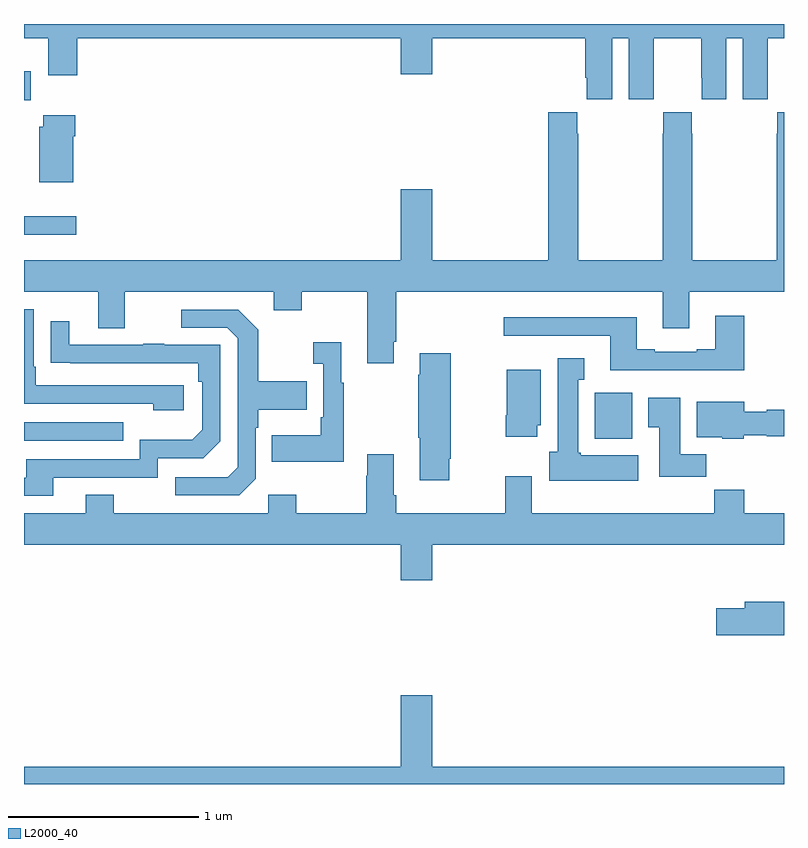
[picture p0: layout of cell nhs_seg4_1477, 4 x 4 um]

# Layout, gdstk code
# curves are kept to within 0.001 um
import gdstk
lib = gdstk.Library(unit=1e-6, precision=1e-09)
def R(c, l, rs):  # rectangles x0, y0, x1, y1
    for r in rs: c.add(gdstk.rectangle(r[:2], r[2:], *l))
def P(c, l, *ps):  # polygons
    for p in ps: c.add(gdstk.Polygon(p, *l))
L2000_40 = (2000, 40)

nhs_seg4_1477 = lib.new_cell('nhs_seg4_1477')
R(nhs_seg4_1477, L2000_40, [(187,790.707,187.523,790.803), (190.004,790.718,190.201,790.96), (187,791.792,187.276,791.889), (187,792.498,187.036,792.652)])
P(nhs_seg4_1477, L2000_40, [(190.096,792.824),(190.184,792.824),(190.184,792.504),(190.314,792.504),(190.314,792.616),(190.315,792.616),(190.315,792.824),(190.565,792.824),(190.565,792.616),(190.566,792.616),(190.566,792.504),(190.696,792.504),(190.696,792.824),(190.784,792.824),(190.784,792.504),(190.914,792.504),(190.914,792.616),(190.915,792.616),(190.915,792.824),(191,792.824),(191,792.9),(187,792.9),(187,792.824),(187.127,792.824),(187.127,792.63),(187.28,792.63),(187.28,792.824),(188.984,792.824),(188.984,792.636),(189.148,792.636),(189.148,792.824),(189.953,792.824),(189.953,792.616),(189.962,792.616),(189.962,792.504),(190.096,792.504)],
  [(188.947,791.227),(188.96,791.227),(188.96,791.492),(190.361,791.492),(190.361,791.298),(190.501,791.298),(190.501,791.492),(191,791.492),(191,792.436),(190.965,792.436),(190.965,792.323),(190.963,792.323),(190.963,791.656),(190.518,791.656),(190.518,792.323),(190.515,792.323),(190.515,792.436),(190.365,792.436),(190.365,792.323),(190.363,792.323),(190.363,791.656),(189.918,791.656),(189.918,792.323),(189.911,792.323),(189.911,792.436),(189.758,792.436),(189.758,791.656),(189.148,791.656),(189.148,792.031),(188.984,792.031),(188.984,791.656),(187,791.656),(187,791.492),(187.391,791.492),(187.391,791.298),(187.531,791.298),(187.531,791.492),(188.315,791.492),(188.315,791.393),(188.463,791.393),(188.463,791.492),(188.807,791.492),(188.807,791.115),(188.947,791.115)],
  [(187.258,792.308),(187.271,792.308),(187.271,792.421),(187.1,792.421),(187.1,792.36),(187.079,792.36),(187.079,792.068),(187.258,792.068)],
  [(187.84,790.998),(187.063,790.998),(187.063,791.095),(187.05,791.095),(187.05,791.4),(187,791.4),(187,790.902),(187.679,790.902),(187.679,790.868),(187.84,790.868)],
  [(188.22,790.506),(188.22,790.775),(188.233,790.775),(188.233,790.871),(188.489,790.871),(188.489,791.019),(188.233,791.019),(188.233,791.291),(188.127,791.397),(187.827,791.397),(187.827,791.301),(188.07,791.301),(188.124,791.247),(188.124,790.566),(188.073,790.515),(187.797,790.515),(187.797,790.419),(188.133,790.419)],
  [(190.79,791.365),(190.637,791.365),(190.637,791.188),(190.541,791.188),(190.541,791.175),(190.321,791.175),(190.321,791.188),(190.225,791.188),(190.225,791.356),(189.525,791.356),(189.525,791.259),(190.085,791.259),(190.085,791.078),(190.79,791.078)],
  [(187.153,790.512),(187.704,790.512),(187.704,790.614),(187.944,790.614),(188.034,790.704),(188.034,791.211),(187.739,791.211),(187.739,791.216),(187.627,791.216),(187.627,791.211),(187.237,791.211),(187.237,791.335),(187.141,791.335),(187.141,791.116),(187.918,791.115),(187.918,791.018),(187.938,791.018),(187.938,790.764),(187.885,790.711),(187.608,790.711),(187.608,790.608),(187.013,790.608),(187.013,790.512),(187,790.512),(187,790.416),(187.153,790.416)],
  [(188.683,791.011),(188.671,791.011),(188.671,791.224),(188.523,791.224),(188.523,791.111),(188.574,791.111),(188.574,790.831),(188.562,790.831),(188.562,790.735),(188.305,790.735),(188.305,790.595),(188.683,790.595)],
  [(189.238,790.612),(189.246,790.612),(189.246,791.167),(189.083,791.167),(189.083,791.054),(189.076,791.054),(189.076,790.723),(189.083,790.723),(189.083,790.5),(189.238,790.5)],
  [(190.234,790.63),(189.93,790.63),(189.93,790.644),(189.916,790.644),(189.916,791.027),(189.949,791.027),(189.949,791.14),(189.809,791.14),(189.809,790.65),(189.764,790.65),(189.764,790.496),(190.234,790.496)],
  [(189.7,790.788),(189.721,790.788),(189.721,791.08),(189.542,791.08),(189.542,790.84),(189.535,790.84),(189.535,790.728),(189.7,790.728)],
  [(190.592,790.636),(190.453,790.636),(190.453,790.933),(190.286,790.933),(190.286,790.777),(190.343,790.777),(190.343,790.518),(190.592,790.518)],
  [(190.788,790.736),(190.908,790.736),(190.908,790.729),(191,790.729),(191,790.871),(190.908,790.871),(190.908,790.858),(190.792,790.858),(190.792,790.912),(190.541,790.912),(190.541,790.724),(190.674,790.724),(190.674,790.718),(190.788,790.718)],
  [(188.286,790.423),(188.286,790.324),(187.473,790.324),(187.473,790.423),(187.325,790.423),(187.325,790.324),(187,790.324),(187,790.16),(188.984,790.16),(188.984,789.972),(189.148,789.972),(189.148,790.16),(191,790.16),(191,790.324),(190.79,790.324),(190.79,790.448),(190.633,790.448),(190.633,790.324),(189.673,790.324),(189.673,790.519),(189.533,790.519),(189.533,790.324),(188.96,790.324),(188.96,790.42),(188.947,790.42),(188.947,790.636),(188.807,790.636),(188.807,790.523),(188.8,790.523),(188.8,790.324),(188.433,790.324),(188.433,790.423)],
  [(191,789.859),(190.793,789.859),(190.793,789.825),(190.644,789.825),(190.644,789.683),(191,789.683)],
  [(191,788.992),(189.148,788.992),(189.148,789.367),(188.984,789.367),(188.984,788.992),(187,788.992),(187,788.9),(191,788.9)])

lib.write_gds('nhs_seg4_1477.gds')
